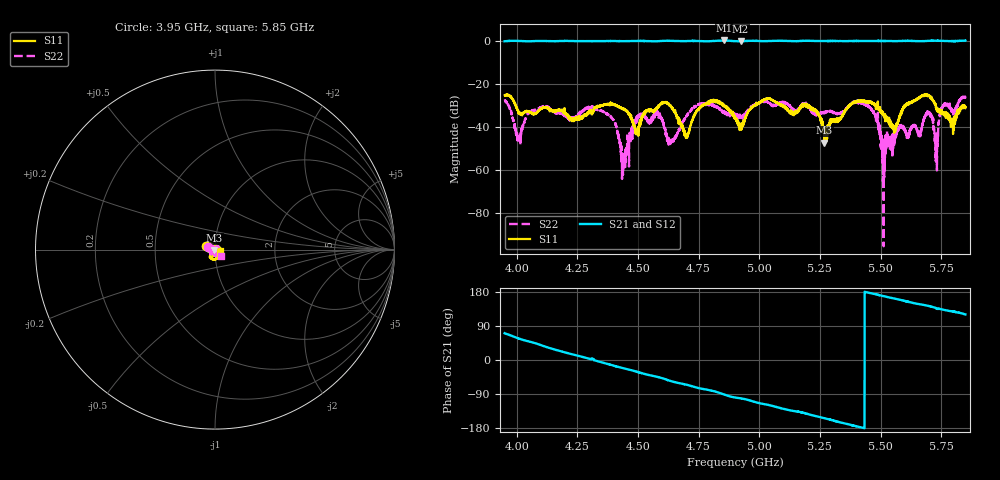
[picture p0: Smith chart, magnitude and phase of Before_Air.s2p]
# GHZ S RI R 50.000000000000
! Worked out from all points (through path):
!   4501 points, 3.95 GHz to 5.85 GHz, reference 50 ohm
!   highest |S21| = 0.44 dB at 4.855 GHz (marker M1); lowest = 0.0 dB at 4.923 GHz (marker M2)
!   group delay of S21, straight-line fit = 446 ps
!   lowest |S11| = -47.4 dB at 5.269 GHz (marker M3), VSWR 1.01, Z = 49.7 - j0.293 ohm
!   |S11| at or under -10 dB: start of sweep to end of sweep
!   |S22| runs from -95.7 to -25.7 dB; largest |S21 - S12| = 0.074
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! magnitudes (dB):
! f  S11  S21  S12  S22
! 3.95 GHz  -25.2  0.1  0.1  -27.6
! 4.008 GHz  -33.0  0.2  0.3  -46.2
! 4.104 GHz  -31.3  0.2  0.2  -30.6
! 4.267 GHz  -35.7  0.1  0.2  -33.1
! 4.392 GHz  -29.3  0.2  0.2  -35.7
! 4.439 GHz  -31.7  0.1  0.1  -55.5
! 4.499 GHz  -42.5  0.2  0.3  -35.5
! 4.584 GHz  -30.4  0.1  0.1  -34.0
! 4.635 GHz  -30.1  0.3  0.3  -47.2
! 4.7 GHz  -44.7  0.2  0.2  -34.7
! 4.855 GHz  -29.6  0.4  0.5  -33.2
! 4.9 GHz  -35.9  0.1  0.2  -34.0
! 4.923 GHz  -40.7  0.0  0.1  -34.8
! 5.217 GHz  -31.7  0.2  0.3  -33.0
! 5.269 GHz  -47.4  0.2  0.2  -32.8
! 5.421 GHz  -27.8  0.2  0.2  -28.8
! 5.51 GHz  -32.9  0.2  0.3  -52.9
! 5.534 GHz  -37.2  0.2  0.3  -46.7
! 5.696 GHz  -25.2  0.2  0.3  -33.4
! 5.729 GHz  -31.2  0.3  0.3  -55.8
! 5.757 GHz  -33.7  0.2  0.3  -30.8
! 5.85 GHz  -30.7  0.4  0.4  -26.1
